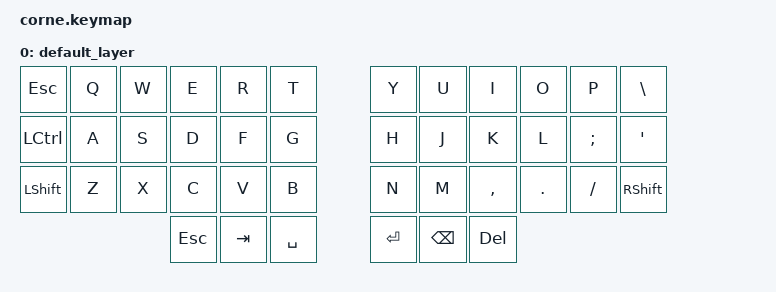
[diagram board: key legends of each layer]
#include <behaviors.dtsi>
#include <dt-bindings/zmk/keys.h>

/ {
	keymap {
		compatible = "zmk,keymap";

		default_layer {
// ---------------------------------------------------------------------------------------------------------------------------------
// |  ESC  |  Q  |  W  |  E   |  R   |  T   |      |  Y   |  U   |  I  |  O  |  P   |   \   |
// | LCTRL |  A  |  S  |  D   |  F   |  G   |      |  H   |  J   |  K  |  L  | SEMI |   '   |
// | SHIFT |  Z  |  X  |  C   |  V   |  B   |      |  N   |  M   |  ,  |  .  |  /   | RSHFT |
//                     | ESC  |  TAB | SPC  |      | RET  | BSPC | DEL |
			bindings = <
	&kp ESC   &kp Q &kp W &kp E &kp R &kp T          &kp Y &kp U  &kp I     &kp O   &kp P    &kp BSLH
	&kp LCTRL &kp A &kp S &kp D &kp F &kp G          &kp H &kp J  &kp K     &kp L   &kp SEMI &kp SQT
	&kp LSHFT &kp Z &kp X &kp C &kp V &kp B          &kp N &kp M  &kp COMMA &kp DOT &kp FSLH &kp RSHFT
	                &kp ESC  &kp TAB &kp SPC         &kp RET &kp BSPC &kp DEL
			>;
		};
	};
};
